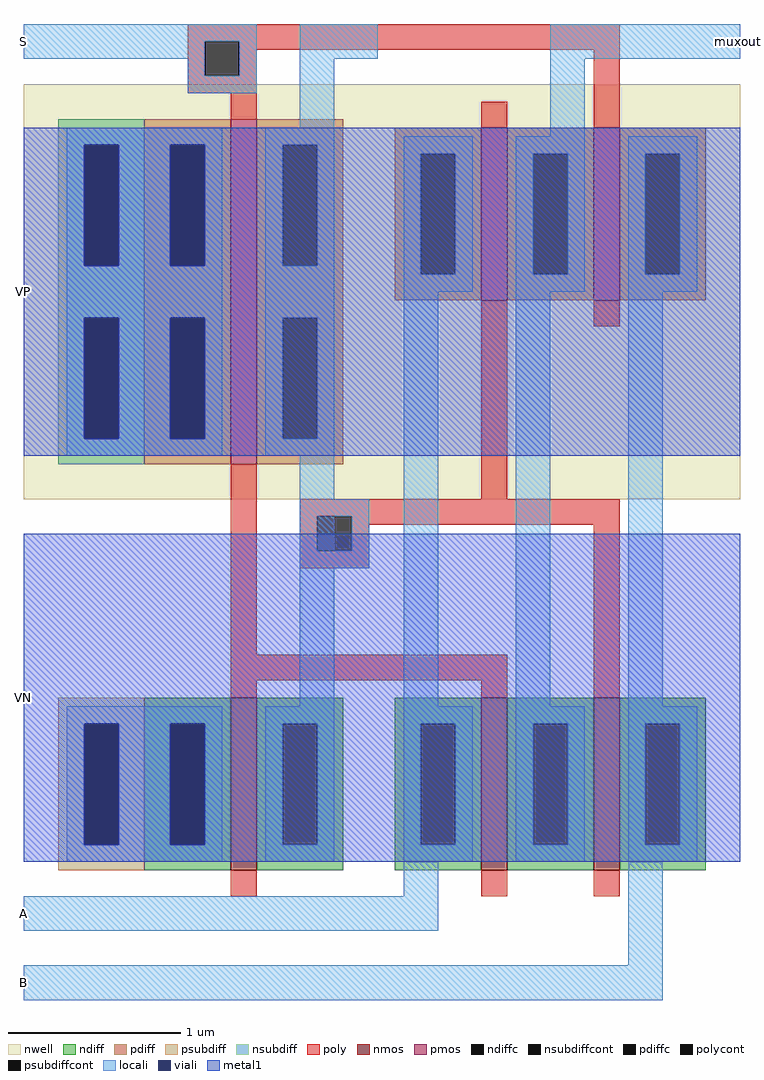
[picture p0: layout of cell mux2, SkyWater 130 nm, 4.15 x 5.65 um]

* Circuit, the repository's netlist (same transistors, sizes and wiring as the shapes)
* SPICE3 file created from mux2.ext - technology: sky130A

.subckt inverter A Y VP VN
X0 Y A VN VN sky130_fd_pr__nfet_01v8 ad=5e+11p pd=3e+06u as=5e+11p ps=3e+06u w=1e+06u l=150000u
X1 Y A VP VP sky130_fd_pr__pfet_01v8 ad=1e+12p pd=5e+06u as=1e+12p ps=5e+06u w=2e+06u l=150000u
.ends


* Top level circuit mux2

Xinverter_0 S inverter_0/Y VP VN inverter
X0 muxout inverter_0/Y A VP sky130_fd_pr__pfet_01v8 ad=5e+11p pd=3e+06u as=5e+11p ps=3e+06u w=1e+06u l=150000u
X1 B S muxout VP sky130_fd_pr__pfet_01v8 ad=5e+11p pd=3e+06u as=0p ps=0u w=1e+06u l=150000u
X2 muxout S A VN sky130_fd_pr__nfet_01v8 ad=5e+11p pd=3e+06u as=5e+11p ps=3e+06u w=1e+06u l=150000u
X3 B inverter_0/Y muxout VN sky130_fd_pr__nfet_01v8 ad=5e+11p pd=3e+06u as=0p ps=0u w=1e+06u l=150000u
.end

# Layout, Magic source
magic
tech sky130A
<< nwell >>
rect 135 230 415 470
<< nmos >>
rect 265 15 280 115
rect 330 15 345 115
<< pmos >>
rect 265 345 280 445
rect 330 345 345 445
<< ndiff >>
rect 215 100 265 115
rect 215 30 230 100
rect 250 30 265 100
rect 215 15 265 30
rect 280 100 330 115
rect 280 30 295 100
rect 315 30 330 100
rect 280 15 330 30
rect 345 100 395 115
rect 345 30 360 100
rect 380 30 395 100
rect 345 15 395 30
<< pdiff >>
rect 215 430 265 445
rect 215 360 230 430
rect 250 360 265 430
rect 215 345 265 360
rect 280 430 330 445
rect 280 360 295 430
rect 315 360 330 430
rect 280 345 330 360
rect 345 430 395 445
rect 345 360 360 430
rect 380 360 395 430
rect 345 345 395 360
<< ndiffc >>
rect 230 30 250 100
rect 295 30 315 100
rect 360 30 380 100
<< pdiffc >>
rect 230 360 250 430
rect 295 360 315 430
rect 360 360 380 430
<< poly >>
rect 135 490 345 505
rect 265 445 280 460
rect 330 445 345 490
rect 265 230 280 345
rect 330 330 345 345
rect 160 220 345 230
rect 160 200 170 220
rect 190 215 345 220
rect 190 200 200 215
rect 160 190 200 200
rect 120 125 280 140
rect 265 115 280 125
rect 330 115 345 215
rect 265 0 280 15
rect 330 0 345 15
<< polycont >>
rect 170 200 190 220
<< locali >>
rect 0 485 15 505
rect 305 485 415 505
rect 305 440 325 485
rect 220 430 260 440
rect 220 360 230 430
rect 250 360 260 430
rect 220 350 260 360
rect 285 430 325 440
rect 285 360 295 430
rect 315 360 325 430
rect 285 350 325 360
rect 350 430 390 440
rect 350 360 360 430
rect 380 360 390 430
rect 350 350 390 360
rect 160 220 200 230
rect 160 200 170 220
rect 190 200 200 220
rect 160 190 200 200
rect 220 110 240 350
rect 285 110 305 350
rect 350 110 370 350
rect 220 100 260 110
rect 220 30 230 100
rect 250 30 260 100
rect 220 20 260 30
rect 285 100 325 110
rect 285 30 295 100
rect 315 30 325 100
rect 285 20 325 30
rect 350 100 390 110
rect 350 30 360 100
rect 380 30 390 100
rect 350 20 390 30
rect 220 0 240 20
rect 0 -20 240 0
rect 350 -40 370 20
rect 0 -60 370 -40
<< metal1 >>
rect 0 255 20 445
rect 205 255 415 445
rect 0 20 20 210
rect 205 20 415 210
use inverter  inverter_0
transform 1 0 120 0 1 -120
box -120 120 85 625
<< labels >>
rlabel locali 415 495 415 495 3 muxout
rlabel locali 0 -10 0 -10 7 A
rlabel locali 0 -50 0 -50 7 B
rlabel locali 0 495 0 495 7 S
rlabel metal1 0 350 0 350 7 VP
rlabel metal1 0 115 0 115 7 VN
<< end >>

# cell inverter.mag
magic
tech sky130A
<< nwell >>
rect -120 350 85 590
<< nmos >>
rect 0 135 15 235
<< pmos >>
rect 0 370 15 570
<< ndiff >>
rect -50 220 0 235
rect -50 150 -35 220
rect -15 150 0 220
rect -50 135 0 150
rect 15 220 65 235
rect 15 150 30 220
rect 50 150 65 220
rect 15 135 65 150
<< pdiff >>
rect -50 555 0 570
rect -50 485 -35 555
rect -15 485 0 555
rect -50 455 0 485
rect -50 385 -35 455
rect -15 385 0 455
rect -50 370 0 385
rect 15 555 65 570
rect 15 485 30 555
rect 50 485 65 555
rect 15 455 65 485
rect 15 385 30 455
rect 50 385 65 455
rect 15 370 65 385
<< ndiffc >>
rect -35 150 -15 220
rect 30 150 50 220
<< pdiffc >>
rect -35 485 -15 555
rect -35 385 -15 455
rect 30 485 50 555
rect 30 385 50 455
<< psubdiff >>
rect -100 220 -50 235
rect -100 150 -85 220
rect -65 150 -50 220
rect -100 135 -50 150
<< nsubdiff >>
rect -100 555 -50 570
rect -100 485 -85 555
rect -65 485 -50 555
rect -100 455 -50 485
rect -100 385 -85 455
rect -65 385 -50 455
rect -100 370 -50 385
<< psubdiffcont >>
rect -85 150 -65 220
<< nsubdiffcont >>
rect -85 485 -65 555
rect -85 385 -65 455
<< poly >>
rect -25 615 15 625
rect -25 595 -15 615
rect 5 595 15 615
rect -25 585 15 595
rect 0 570 15 585
rect 0 235 15 370
rect 0 120 15 135
<< polycont >>
rect -15 595 5 615
<< locali >>
rect -120 615 15 625
rect -120 605 -15 615
rect -25 595 -15 605
rect 5 595 15 615
rect -25 585 15 595
rect 40 605 85 625
rect 40 565 60 605
rect -95 555 -5 565
rect -95 485 -85 555
rect -65 485 -35 555
rect -15 485 -5 555
rect -95 455 -5 485
rect -95 385 -85 455
rect -65 385 -35 455
rect -15 385 -5 455
rect -95 375 -5 385
rect 20 555 60 565
rect 20 485 30 555
rect 50 485 60 555
rect 20 455 60 485
rect 20 385 30 455
rect 50 385 60 455
rect 20 375 60 385
rect 40 230 60 375
rect -95 220 -5 230
rect -95 150 -85 220
rect -65 150 -35 220
rect -15 150 -5 220
rect -95 140 -5 150
rect 20 220 60 230
rect 20 150 30 220
rect 50 150 60 220
rect 20 140 60 150
<< viali >>
rect -85 485 -65 555
rect -35 485 -15 555
rect -85 385 -65 455
rect -35 385 -15 455
rect -85 150 -65 220
rect -35 150 -15 220
<< metal1 >>
rect -120 555 85 565
rect -120 485 -85 555
rect -65 485 -35 555
rect -15 485 85 555
rect -120 455 85 485
rect -120 385 -85 455
rect -65 385 -35 455
rect -15 385 85 455
rect -120 375 85 385
rect -120 220 85 330
rect -120 150 -85 220
rect -65 150 -35 220
rect -15 150 85 220
rect -120 140 85 150
<< labels >>
rlabel metal1 -120 470 -120 470 7 VP
port 3 w
rlabel locali -120 615 -120 615 7 A
port 1 w
rlabel locali 85 615 85 615 3 Y
port 2 e
rlabel metal1 -120 235 -120 235 7 VN
port 4 w
<< end >>
